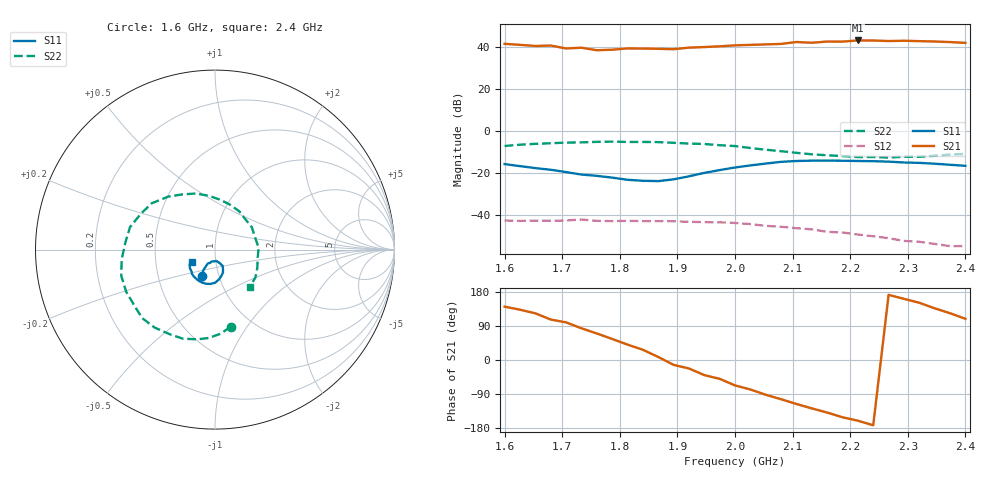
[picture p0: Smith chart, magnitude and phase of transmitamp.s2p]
# GHz S DB R 50
! S-Parameters data
! Freq  dbS11  angS11  dbS21  angS21  dbS12  angS12  dbS22  angS22
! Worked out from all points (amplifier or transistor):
!   31 points, 1.6 GHz to 2.4 GHz, reference 50 ohm
!   highest |S21| = 43.0 dB at 2.213 GHz (marker M1)
!   |S21| within 3 dB of that: 1.957 GHz to end of sweep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
!   unconditionally stable (mu >= 1): 2.127 GHz to end of sweep
!   at 1.733 GHz: K = 0.85, MSG = 40.8 dB, |S12| = -42.1 dB
!   at 2 GHz: K = 0.88, MSG = 42.2 dB, |S12| = -43.7 dB
!   at 2.4 GHz: K = 2.06, MAG = 42.4 dB, |S12| = -54.7 dB
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1.6  -15.77 -117.0  41.39 140.7  -42.56 143.4  -7.14 -78.6
1.653333  -17.67 -119.6  40.37 123.2  -42.62 139.1  -6.13 -94.0
1.68  -18.45 -119.2  40.59 106.8  -42.70 136.0  -5.86 -101.2
1.706667  -19.55 -118.5  39.20 99.3  -42.56 132.2  -5.55 -109.7
1.733333  -20.73 -118.0  39.55 83.7  -42.10 128.0  -5.44 -118.0
1.76  -21.35 -116.3  38.36 70.0  -42.74 124.0  -5.20 -127.9
1.813333  -23.22 -106.3  39.20 40.6  -42.74 118.6  -5.24 -145.2
1.866667  -23.85 -82.6  39.02 8.0  -42.86 114.3  -5.31 -164.4
1.893333  -23.01 -76.1  38.84 -12.8  -42.90 108.1  -5.64 -174.0
1.92  -21.57 -69.2  39.59 -22.4  -43.21 105.2  -6.00 175.4
1.946667  -19.95 -64.9  39.86 -39.9  -43.33 102.5  -6.20 165.1
1.973333  -18.61 -67.8  40.22 -49.7  -43.45 96.9  -6.78 154.1
2  -17.37 -70.9  40.68 -67.1  -43.74 93.8  -7.19 143.8
2.026667  -16.39 -76.7  40.90 -77.8  -44.27 91.3  -8.11 131.3
2.106667  -14.29 -97.2  42.27 -116.1  -46.24 81.0  -10.42 96.2
2.16  -14.11 -111.8  42.48 -138.7  -47.97 73.6  -11.57 71.7
2.213333  -14.29 -122.9  43.00 -160.2  -49.24 76.9  -12.41 45.6
2.24  -14.39 -128.3  42.98 -172.3  -50.07 79.0  -12.39 30.9
2.266667  -14.59 -133.4  42.72 172.0  -50.98 71.9  -12.65 17.1
2.32  -15.19 -143.5  42.68 151.0  -52.67 81.3  -12.32 -10.7
2.346667  -15.58 -148.1  42.50 136.4  -53.72 79.0  -11.80 -23.5
2.4  -16.59 -151.7  41.84 108.8  -54.73 90.6  -10.92 -47.3
